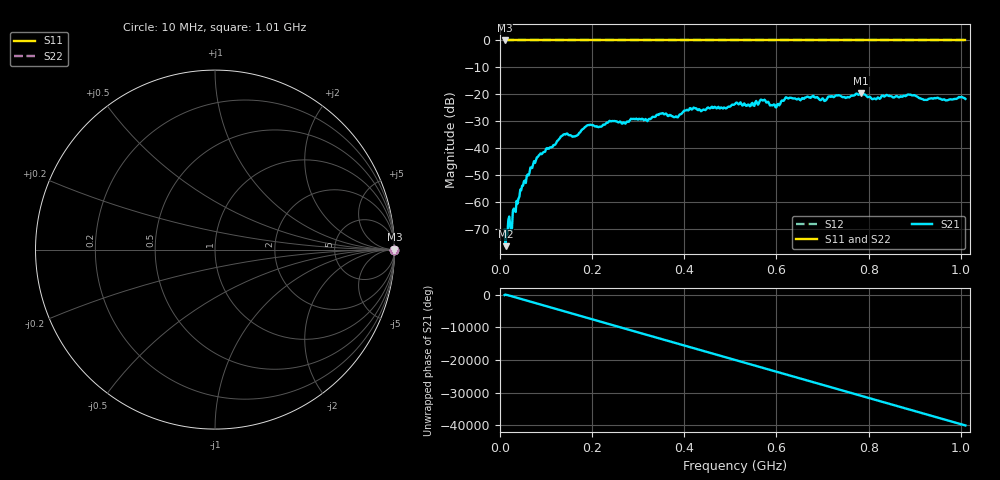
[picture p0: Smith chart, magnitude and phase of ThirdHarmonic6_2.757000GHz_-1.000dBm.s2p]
! 8/17/2025 6:56:10 AM
! C:\ANRITSUVNA\TEMP\TEMP.S2P
! CHANNEL.1
! TR.MEASUREMENT
! RAW.DATA
! RF.CORRECTION.OFF
! AVERAGING.OFF
! IF.BANDWIDTH: 5KHZ
! SWEEPTYPE:  FREQ.SWEEP(Linear)
! Reference Plane Port Info
! PORT:  PORT1  PORT2
! DISTANCE:  0  m  0  m
! TIME:  0  s  0  s
! PHASE.OFFSET:  0  deg.  0  deg.
! LOSS:  0  dB  0  dB
! REF.LOSS:  0  dB  0  dB
! REF.FREQ:  0  Hz  0  Hz
! Power Info
! POWER:  -20  dBm  -20  dBm
! EFF.POWER:  -20  dBm  -20  dBm
! SOURCE.ATTEN:  0  dB  0  dB
! TEST.ATTEN:  0  dB  0  dB
# GHZ S RI R 50.0
! FREQ.GHZ  S11RE  S11IM  S21RE  S21IM  S12RE  S12IM  S22RE  S22IM
!; PortSelection: Port_12
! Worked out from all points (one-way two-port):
!   501 points, 10 MHz to 1.01 GHz, reference 50 ohm
!   highest |S21| = -19.51 dB at 784 MHz (marker M1); lowest = -76.4 dB at 12 MHz (marker M2)
!   lowest |S11| = 0.0 dB at 10 MHz (marker M3)
!   |S11| at or under -10 dB: nowhere
!   |S22| runs from 0.0 to 0.0 dB; largest |S21 - S12| = 1.1
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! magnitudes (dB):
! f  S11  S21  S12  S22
! 10 MHz  0.0  -70.4  0.0  0.0
! 12 MHz  0.0  -76.4  0.0  0.0
! 26 MHz  0.0  -69.6  0.0  0.0
! 48 MHz  0.0  -53.9  0.0  0.0
! 84 MHz  0.0  -42.7  0.0  0.0
! 136 MHz  0.0  -35.2  0.0  0.0
! 162 MHz  0.0  -35.7  0.0  0.0
! 178 MHz  0.0  -33.1  0.0  0.0
! 192 MHz  0.0  -31.4  0.0  0.0
! 344 MHz  0.0  -27.7  0.0  0.0
! 382 MHz  0.0  -28.2  0.0  0.0
! 416 MHz  0.0  -25.7  0.0  0.0
! 510 MHz  0.0  -23.6  0.0  0.0
! 570 MHz  0.0  -22.3  0.0  0.0
! 602 MHz  0.0  -23.7  0.0  0.0
! 624 MHz  0.0  -21.4  0.0  0.0
! 678 MHz  0.0  -20.8  0.0  0.0
! 706 MHz  0.0  -22.4  0.0  0.0
! 784 MHz  0.0  -19.5  0.0  0.0
! 812 MHz  0.0  -21.6  0.0  0.0
! 844 MHz  0.0  -20.6  0.0  0.0
! 1.01 GHz  0.0  -21.7  0.0  0.0
